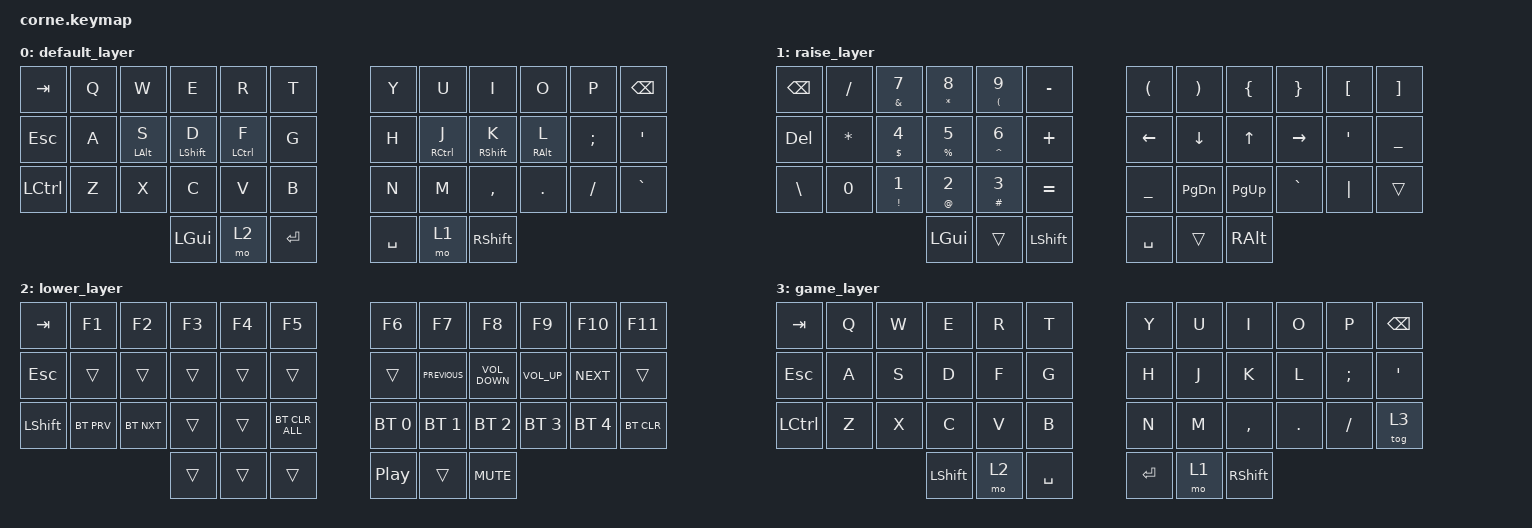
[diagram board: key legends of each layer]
/*
 * Copyright (c) 2020 The ZMK Contributors
 *
 * SPDX-License-Identifier: MIT
 */

#include <behaviors.dtsi>
#include <dt-bindings/zmk/bt.h>
#include <dt-bindings/zmk/keys.h>

/ {
    behaviors {
        HMR: HMR {
            compatible = "zmk,behavior-hold-tap";
            label = "HMR";
            bindings = <&kp>, <&kp>;

            #binding-cells = <2>;
            tapping-term-ms = <225>;
            quick-tap-ms = <175>;
            flavor = "tap-preferred";
            hold-trigger-on-release;
            hold-trigger-key-positions = <41 40 39 38 37 36 12 13 14 15 16 17 24 25 26 27 28 29 0 1 2 3 4 5>;
        };

        HML: HML {
            compatible = "zmk,behavior-hold-tap";
            label = "HML";
            bindings = <&kp>, <&kp>;

            #binding-cells = <2>;
            tapping-term-ms = <225>;
            quick-tap-ms = <175>;
            flavor = "tap-preferred";
            hold-trigger-on-release;
            hold-trigger-key-positions = <36 37 38 39 40 41 6 7 8 9 10 11 18 19 20 21 22 23 30 31 32 33 34 35 41>;
        };
    };

    combos {
        compatible = "zmk,combos";

        combo_game_toggle {
            timeout-ms = <50>;
            key-positions = <0 11>;
            bindings = <&tog 3>;
            layers = <0 3>;
        };
    };

    keymap {
        compatible = "zmk,keymap";

        default_layer {
            bindings = <
&kp TAB           &kp Q  &kp W            &kp E              &kp R                &kp T         &kp Y      &kp U                 &kp I               &kp O             &kp P     &kp BSPC
&kp ESCAPE        &kp A  &HML LEFT_ALT S  &HML LEFT_SHIFT D  &HML LEFT_CONTROL F  &kp G         &kp H      &HMR RIGHT_CONTROL J  &HMR RIGHT_SHIFT K  &HMR RIGHT_ALT L  &kp SEMI  &kp SINGLE_QUOTE
&kp LEFT_CONTROL  &kp Z  &kp X            &kp C              &kp V                &kp B         &kp N      &kp M                 &kp COMMA           &kp DOT           &kp FSLH  &kp GRAVE
                                          &kp LGUI           &mo 2                &kp RETURN    &kp SPACE  &mo 1                 &kp RIGHT_SHIFT
            >;
        };

        raise_layer {
            bindings = <
&kp BACKSPACE  &kp SLASH  &mt AMPS N7          &mt ASTRK N8          &mt LEFT_PARENTHESIS N9  &kp MINUS         &kp LEFT_PARENTHESIS  &kp RIGHT_PARENTHESIS  &kp LEFT_BRACE  &kp RIGHT_BRACE  &kp LEFT_BRACKET  &kp RIGHT_BRACKET
&kp DEL        &kp ASTRK  &mt DOLLAR NUMBER_4  &mt PERCENT NUMBER_5  &mt CARET NUMBER_6       &kp PLUS          &kp LEFT_ARROW        &kp DOWN               &kp UP_ARROW    &kp RIGHT        &kp APOS          &kp UNDER
&kp BACKSLASH  &kp N0     &mt EXCL NUMBER_1    &mt AT NUMBER_2       &mt HASH NUMBER_3        &kp EQUAL         &kp UNDER             &kp PAGE_DOWN          &kp PG_UP       &kp GRAVE        &kp PIPE          &trans
                                               &kp LGUI              &trans                   &kp LEFT_SHIFT    &kp SPACE             &trans                 &kp RALT
            >;
        };

        lower_layer {
            bindings = <
&kp TAB    &kp F1      &kp F2      &kp F3  &kp F4  &kp F5            &kp F6        &kp F7          &kp F8             &kp F9           &kp F10       &kp F11
&kp ESC    &trans      &trans      &trans  &trans  &trans            &trans        &kp C_PREVIOUS  &kp K_VOLUME_DOWN  &kp K_VOLUME_UP  &kp C_NEXT    &trans
&kp LSHFT  &bt BT_PRV  &bt BT_NXT  &trans  &trans  &bt BT_CLR_ALL    &bt BT_SEL 0  &bt BT_SEL 1    &bt BT_SEL 2       &bt BT_SEL 3     &bt BT_SEL 4  &bt BT_CLR
                                   &trans  &trans  &trans            &kp C_PP      &trans          &kp C_MUTE
            >;
        };

        game_layer {
            bindings = <
&kp TAB           &kp Q  &kp W  &kp E       &kp R  &kp T        &kp Y       &kp U  &kp I            &kp O    &kp P     &kp BSPC
&kp ESCAPE        &kp A  &kp S  &kp D       &kp F  &kp G        &kp H       &kp J  &kp K            &kp L    &kp SEMI  &kp SINGLE_QUOTE
&kp LEFT_CONTROL  &kp Z  &kp X  &kp C       &kp V  &kp B        &kp N       &kp M  &kp COMMA        &kp DOT  &kp FSLH  &tog 3
                                &kp LSHIFT  &mo 2  &kp SPACE    &kp RETURN  &mo 1  &kp RIGHT_SHIFT
            >;
        };
    };
};
